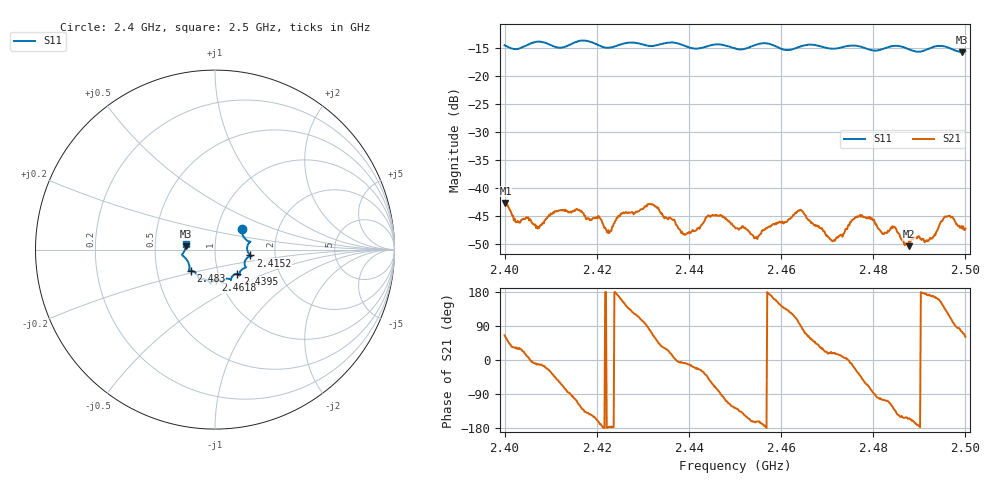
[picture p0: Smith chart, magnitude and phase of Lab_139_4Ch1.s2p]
# Hz S RI R 50
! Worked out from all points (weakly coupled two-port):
!   601 points, 2.4 GHz to 2.5 GHz, reference 50 ohm
!   highest |S21| = -42.69 dB at 2.4002 GHz (marker M1); lowest = -50.4 dB at 2.4877 GHz (marker M2)
!   lowest |S11| = -15.7 dB at 2.4992 GHz (marker M3), VSWR 1.39, Z = 36 + j1.35 ohm
!   |S11| at or under -10 dB: start of sweep to end of sweep
!   S12 and S22 are empty: the file has one direction only
!   S11 on the Smith chart (normalised r, x): 2.4 GHz: 1.31, +0.31; 2.4152 GHz: 1.49, -0.10; 2.4395 GHz: 1.23, -0.34; 2.4618 GHz: 0.95, -0.33; 2.483 GHz: 0.74, -0.18; 2.5 GHz: 0.72, +0.05
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2.4e9  0.1501 0.1133  0.00306 0.00658  0 0  0 0
2.400167e9  0.1498 0.1111  0.00357 0.00641  0 0  0 0
2.407e9  0.1974 0.0444  0.00444 -0.000956  0 0  0 0
2.415167e9  0.1967 -0.0326  -0.00128 -0.00618  0 0  0 0
2.416667e9  0.204 -0.0377  -0.0037 -0.00503  0 0  0 0
2.422667e9  0.1661 -0.0665  -0.00393 -0.000283  0 0  0 0
2.425667e9  0.1696 -0.0943  -0.00528 0.00268  0 0  0 0
2.433333e9  0.1369 -0.1319  0.00465 0.00477  0 0  0 0
2.4395e9  0.1237 -0.1352  0.00383 -0.000661  0 0  0 0
2.444667e9  0.0891 -0.1658  0.00304 -0.00459  0 0  0 0
2.45e9  0.0696 -0.1618  -0.00264 -0.00353  0 0  0 0
2.454667e9  0.0396 -0.1867  -0.00347 -0.00109  0 0  0 0
2.461833e9  0.00401 -0.171  -0.00308 0.00425  0 0  0 0
2.466667e9  -0.0263 -0.1888  0.00294 0.00393  0 0  0 0
2.471167e9  -0.0514 -0.1675  0.00317 0.00102  0 0  0 0
2.477e9  -0.09 -0.1606  0.00437 -0.00354  0 0  0 0
2.483e9  -0.1356 -0.1181  -0.00118 -0.00378  0 0  0 0
2.483333e9  -0.1382 -0.1179  -0.00141 -0.00382  0 0  0 0
2.487667e9  -0.1423 -0.1003  -0.00272 -0.0013  0 0  0 0
2.496e9  -0.1799 -0.0223  -0.00327 0.00444  0 0  0 0
2.499167e9  -0.1631 0.0183  0.00118 0.0044  0 0  0 0
2.5e9  -0.163 0.0332  0.00207 0.0038  0 0  0 0
